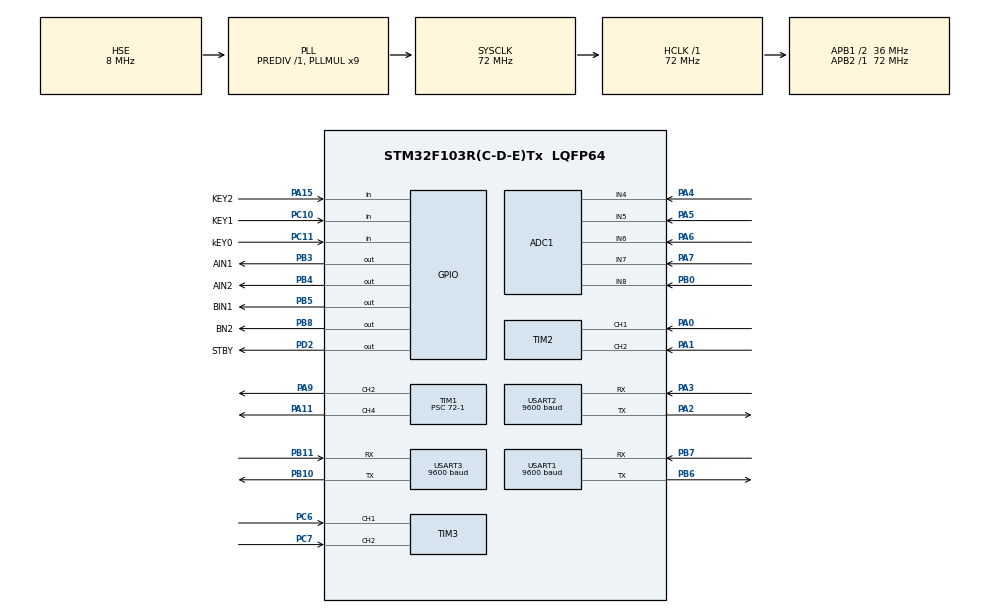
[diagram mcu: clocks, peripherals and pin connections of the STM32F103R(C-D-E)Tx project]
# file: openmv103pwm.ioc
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ADC1.Channel-0\#ChannelRegularConversion=ADC_CHANNEL_4
ADC1.Channel-1\#ChannelRegularConversion=ADC_CHANNEL_5
ADC1.Channel-2\#ChannelRegularConversion=ADC_CHANNEL_6
ADC1.Channel-3\#ChannelRegularConversion=ADC_CHANNEL_7
ADC1.Channel-4\#ChannelRegularConversion=ADC_CHANNEL_8
ADC1.ContinuousConvMode=ENABLE
ADC1.NbrOfConversion=5
ADC1.NbrOfConversionFlag=1
ADC1.Rank-0\#ChannelRegularConversion=1
ADC1.Rank-1\#ChannelRegularConversion=2
ADC1.Rank-2\#ChannelRegularConversion=3
ADC1.Rank-3\#ChannelRegularConversion=4
ADC1.Rank-4\#ChannelRegularConversion=5
ADC1.SamplingTime-0\#ChannelRegularConversion=ADC_SAMPLETIME_55CYCLES_5
ADC1.SamplingTime-1\#ChannelRegularConversion=ADC_SAMPLETIME_55CYCLES_5
ADC1.SamplingTime-2\#ChannelRegularConversion=ADC_SAMPLETIME_55CYCLES_5
ADC1.SamplingTime-3\#ChannelRegularConversion=ADC_SAMPLETIME_55CYCLES_5
ADC1.SamplingTime-4\#ChannelRegularConversion=ADC_SAMPLETIME_55CYCLES_5
ADC1.master=1
Dma.ADC1.0.Direction=DMA_PERIPH_TO_MEMORY
Dma.ADC1.0.Instance=DMA1_Channel1
Dma.ADC1.0.MemDataAlignment=DMA_MDATAALIGN_HALFWORD
Dma.ADC1.0.MemInc=DMA_MINC_ENABLE
Dma.ADC1.0.Mode=DMA_CIRCULAR
Dma.ADC1.0.PeriphDataAlignment=DMA_PDATAALIGN_HALFWORD
Dma.ADC1.0.PeriphInc=DMA_PINC_DISABLE
Dma.ADC1.0.Priority=DMA_PRIORITY_LOW
Dma.Request0=ADC1
Mcu.Family=STM32F1
Mcu.Name=STM32F103R(C-D-E)Tx
Mcu.Package=LQFP64
NVIC.DMA1_Channel1_IRQn=true\:0\:0\:false\:false\:true\:false\:true\:true
NVIC.PriorityGroup=NVIC_PRIORITYGROUP_4
NVIC.TIM6_IRQn=true\:2\:0\:true\:false\:true\:true\:true\:true
NVIC.TIM7_IRQn=true\:3\:0\:true\:false\:true\:true\:true\:true
NVIC.USART1_IRQn=true\:1\:0\:true\:false\:true\:true\:true\:true
NVIC.USART2_IRQn=true\:0\:0\:true\:false\:true\:true\:true\:true
NVIC.USART3_IRQn=true\:1\:0\:true\:false\:true\:true\:true\:true
PA0-WKUP.Signal=S_TIM2_CH1_ETR
PA1.Signal=S_TIM2_CH2
PA11.Signal=S_TIM1_CH4
PA13.Mode=Serial_Wire
PA13.Signal=SYS_JTMS-SWDIO
PA14.Mode=Serial_Wire
PA14.Signal=SYS_JTCK-SWCLK
PA15.GPIO_Label=KEY2
PA15.Signal=GPIO_Input
PA2.Mode=Asynchronous
PA2.Signal=USART2_TX
PA3.Mode=Asynchronous
PA3.Signal=USART2_RX
PA4.Signal=ADCx_IN4
PA5.Signal=ADCx_IN5
PA6.Signal=ADCx_IN6
PA7.Signal=ADCx_IN7
PA9.Signal=S_TIM1_CH2
PB0.Signal=ADCx_IN8
PB10.Mode=Asynchronous
PB10.Signal=USART3_TX
PB11.Mode=Asynchronous
PB11.Signal=USART3_RX
PB3.GPIO_Label=AIN1
PB3.GPIO_ModeDefaultOutputPP=GPIO_MODE_OUTPUT_PP
PB3.GPIO_PuPd=GPIO_NOPULL
PB3.PinState=GPIO_PIN_SET
PB3.Signal=GPIO_Output
PB4.GPIO_Label=AIN2
PB4.GPIO_ModeDefaultOutputPP=GPIO_MODE_OUTPUT_PP
PB4.GPIO_PuPd=GPIO_NOPULL
PB4.PinState=GPIO_PIN_RESET
PB4.Signal=GPIO_Output
PB5.GPIO_Label=BIN1
PB5.GPIO_ModeDefaultOutputPP=GPIO_MODE_OUTPUT_PP
PB5.GPIO_PuPd=GPIO_NOPULL
PB5.PinState=GPIO_PIN_SET
PB5.Signal=GPIO_Output
PB6.Mode=Asynchronous
PB6.Signal=USART1_TX
PB7.Mode=Asynchronous
PB7.Signal=USART1_RX
PB8.GPIO_Label=BN2
PB8.PinState=GPIO_PIN_RESET
PB8.Signal=GPIO_Output
PC10.GPIO_Label=KEY1
PC10.Signal=GPIO_Input
PC11.GPIO_Label=kEY0
PC11.Signal=GPIO_Input
PC14-OSC32_IN.Mode=LSE-External-Oscillator
PC14-OSC32_IN.Signal=RCC_OSC32_IN
PC15-OSC32_OUT.Mode=LSE-External-Oscillator
PC15-OSC32_OUT.Signal=RCC_OSC32_OUT
PC6.Signal=S_TIM3_CH1
PC7.Signal=S_TIM3_CH2
PD0-OSC_IN.Mode=HSE-External-Oscillator
PD0-OSC_IN.Signal=RCC_OSC_IN
PD1-OSC_OUT.Mode=HSE-External-Oscillator
PD1-OSC_OUT.Signal=RCC_OSC_OUT
PD2.GPIO_Label=STBY
PD2.PinState=GPIO_PIN_SET
PD2.Signal=GPIO_Output
ProjectManager.HeapSize=0x200
ProjectManager.StackSize=0x400
ProjectManager.TargetToolchain=MDK-ARM V5.32
RCC.ADCPresc=RCC_ADCPCLK2_DIV6
RCC.AHBFreq_Value=72000000
RCC.APB1CLKDivider=RCC_HCLK_DIV2
RCC.APB1Freq_Value=36000000
RCC.APB1TimFreq_Value=72000000
RCC.APB2Freq_Value=72000000
RCC.APB2TimFreq_Value=72000000
RCC.HCLKFreq_Value=72000000
RCC.PLLMUL=RCC_PLL_MUL9
RCC.PLLSourceVirtual=RCC_PLLSOURCE_HSE
RCC.SYSCLKFreq_VALUE=72000000
RCC.SYSCLKSource=RCC_SYSCLKSOURCE_PLLCLK
RCC.USBFreq_Value=72000000
SH.ADCx_IN4.0=ADC1_IN4,IN4
SH.ADCx_IN5.0=ADC1_IN5,IN5
SH.ADCx_IN6.0=ADC1_IN6,IN6
SH.ADCx_IN7.0=ADC1_IN7,IN7
SH.ADCx_IN8.0=ADC1_IN8,IN8
SH.S_TIM1_CH2.0=TIM1_CH2,PWM Generation2 CH2
SH.S_TIM1_CH4.0=TIM1_CH4,PWM Generation4 CH4
SH.S_TIM2_CH1_ETR.0=TIM2_CH1,Encoder_Interface
SH.S_TIM2_CH2.0=TIM2_CH2,Encoder_Interface
SH.S_TIM3_CH1.0=TIM3_CH1,Encoder_Interface
SH.S_TIM3_CH2.0=TIM3_CH2,Encoder_Interface
TIM1.Channel-PWM\ Generation2\ CH2=TIM_CHANNEL_2
TIM1.Channel-PWM\ Generation4\ CH4=TIM_CHANNEL_4
TIM1.Period=1000-1
TIM1.Prescaler=72-1
TIM2.EncoderMode=TIM_ENCODERMODE_TI12
TIM3.EncoderMode=TIM_ENCODERMODE_TI12
TIM6.AutoReloadPreload=TIM_AUTORELOAD_PRELOAD_ENABLE
TIM6.Period=1000-1
TIM6.Prescaler=36-1
TIM7.AutoReloadPreload=TIM_AUTORELOAD_PRELOAD_ENABLE
TIM7.Period=100-1
TIM7.Prescaler=36-1
USART1.BaudRate=9600
USART1.VirtualMode=VM_ASYNC
USART2.BaudRate=9600
USART2.VirtualMode=VM_ASYNC
USART3.BaudRate=9600
USART3.VirtualMode=VM_ASYNC
VP_TIM6_VS_ClockSourceINT.Mode=Enable_Timer
VP_TIM7_VS_ClockSourceINT.Mode=Enable_Timer
board=custom

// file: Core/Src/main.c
/* USER CODE BEGIN Header */
/**
  ******************************************************************************
  * @file           : main.c
  * @brief          : Main program body
  ******************************************************************************
  * @attention
  *
  * Copyright (c) 2023 STMicroelectronics.
  * All rights reserved.
  *
  * This software is licensed under terms that can be found in the LICENSE file
  * in the root directory of this software component.
  * If no LICENSE file comes with this software, it is provided AS-IS.
  *
  ******************************************************************************
  */
/* USER CODE END Header */
#include "main.h"
#include "adc.h"
#include "dma.h"
#include "tim.h"
#include "usart.h"
#include "gpio.h"

/* USER CODE BEGIN Includes */
#include "Myusart.h"
#include "control.h"
#include "PID.h"
#include "Sensor.h"
#include "stdio.h"
#include "stdlib.h"
#include "PID_location.h"
#include "stm32f1xx_it.h"
#include "Mynvic.h"
/* USER CODE END Includes */

/* USER CODE BEGIN PTD */
uint8_t cnt=0;
/* USER CODE END PTD */

void SystemClock_Config(void);

int main(void)
{

  /* MCU Configuration--------------------------------------------------------*/

  /* Reset of all peripherals, Initializes the Flash interface and the Systick. */
  HAL_Init();

  /* Configure the system clock */
  SystemClock_Config();

  /* Initialize all configured peripherals */
  MX_GPIO_Init();
  MX_DMA_Init();
  MX_TIM2_Init();
  MX_TIM3_Init();
  MX_USART2_UART_Init();
  MX_USART1_UART_Init();
  MX_USART3_UART_Init();
  MX_TIM6_Init();
  MX_ADC1_Init();
  MX_TIM1_Init();
  MX_TIM7_Init();
  /* USER CODE BEGIN 2 */

	HAL_TIM_Encoder_Start(&htim2,TIM_CHANNEL_1|TIM_CHANNEL_2);//编码器模式
	HAL_TIM_Encoder_Start(&htim3,TIM_CHANNEL_1|TIM_CHANNEL_2);

	HAL_TIM_PWM_Start(&htim1,TIM_CHANNEL_4);
	HAL_TIM_PWM_Start(&htim1,TIM_CHANNEL_2);//pwm输出

	HAL_TIM_Base_Start_IT(&htim6);//开启基本定时器
	HAL_TIM_Base_Start_IT(&htim7);
	PID_param_init();
	HAL_UART_Receive_IT(&huart2,&uart2_rxbuff,1);//中断接收一个字符，存放到uart2_rxbuff
	HAL_UART_Receive_IT(&huart3,&uart3_rxbuff,1);//中断接收一个字符，存放到uart2_rxbuff

    motor_R_Return();
    motor_L_Return();

    /*正常运行专用标志位*/
    Load_flag=1;
    Task_flag=1;

//    /*电机运转测试专用*/
//    Stop_flag=0;
//    Load_flag=1;
//    Task_flag=2;
//    Stop_flag=1;
//    LOR=1;
//    HAL_Delay(20);

//        /*转向测试*/
//        LOR=1;
//        HAL_Delay(10);
//        Task_flag=2;
//        spinturn_flag=1;
////        Stop_flag=1;
//        Num=4;
//        HAL_Delay(20);

    /* 回家测试*/
//    cnt_LOR=0;
//    cnt_L=1;
//    cnt_R=1;
//    Task_flag=3;
//    g_lMotor1PulseSigma=0;//在直行时，位置环脉冲累加和一直为0，待到转向时再开始计数
//    g_lMotor2PulseSigma=0;

//    HAL_Delay(200);

  /* USER CODE END 2 */

  /* Infinite loop */
  while (1)
  {

    /* USER CODE BEGIN 3 */
//      //**********************电机测试用，速度环***************************//
//        speed1_Outval=speed_pid_realize(&pid_speed1,cnt_temp1);
//        speed2_Outval=speed_pid_realize(&pid_speed2,cnt_temp2);
//        twomotor_ctl(speed1_Outval,speed2_Outval);
    Task_action();
  }
  /* USER CODE END 3 */
}

void SystemClock_Config(void)
{
  RCC_OscInitTypeDef RCC_OscInitStruct = {0};
  RCC_ClkInitTypeDef RCC_ClkInitStruct = {0};
  RCC_PeriphCLKInitTypeDef PeriphClkInit = {0};

  /** Initializes the RCC Oscillators according to the specified parameters
  * in the RCC_OscInitTypeDef structure.
  */
  RCC_OscInitStruct.OscillatorType = RCC_OSCILLATORTYPE_HSE;
  RCC_OscInitStruct.HSEState = RCC_HSE_ON;
  RCC_OscInitStruct.HSEPredivValue = RCC_HSE_PREDIV_DIV1;
  RCC_OscInitStruct.HSIState = RCC_HSI_ON;
  RCC_OscInitStruct.PLL.PLLState = RCC_PLL_ON;
  RCC_OscInitStruct.PLL.PLLSource = RCC_PLLSOURCE_HSE;
  RCC_OscInitStruct.PLL.PLLMUL = RCC_PLL_MUL9;
  if (HAL_RCC_OscConfig(&RCC_OscInitStruct) != HAL_OK)
  {
    Error_Handler();
  }

  /** Initializes the CPU, AHB and APB buses clocks
  */
  RCC_ClkInitStruct.ClockType = RCC_CLOCKTYPE_HCLK|RCC_CLOCKTYPE_SYSCLK
                              |RCC_CLOCKTYPE_PCLK1|RCC_CLOCKTYPE_PCLK2;
  RCC_ClkInitStruct.SYSCLKSource = RCC_SYSCLKSOURCE_PLLCLK;
  RCC_ClkInitStruct.AHBCLKDivider = RCC_SYSCLK_DIV1;
  RCC_ClkInitStruct.APB1CLKDivider = RCC_HCLK_DIV2;
  RCC_ClkInitStruct.APB2CLKDivider = RCC_HCLK_DIV1;

  if (HAL_RCC_ClockConfig(&RCC_ClkInitStruct, FLASH_LATENCY_2) != HAL_OK)
  {
    Error_Handler();
  }
  PeriphClkInit.PeriphClockSelection = RCC_PERIPHCLK_ADC;
  PeriphClkInit.AdcClockSelection = RCC_ADCPCLK2_DIV6;
  if (HAL_RCCEx_PeriphCLKConfig(&PeriphClkInit) != HAL_OK)
  {
    Error_Handler();
  }
}

/* USER CODE BEGIN 4 */

//		cnt_temp1 = (short)__HAL_TIM_GetCounter(&htim3);//获取编码器计数器的值  一圈大概914个脉冲
//		printf("?%d",cnt_temp1);
/* USER CODE END 4 */

void Error_Handler(void)
{
  __disable_irq();
  while (1)
  {
  }
}
